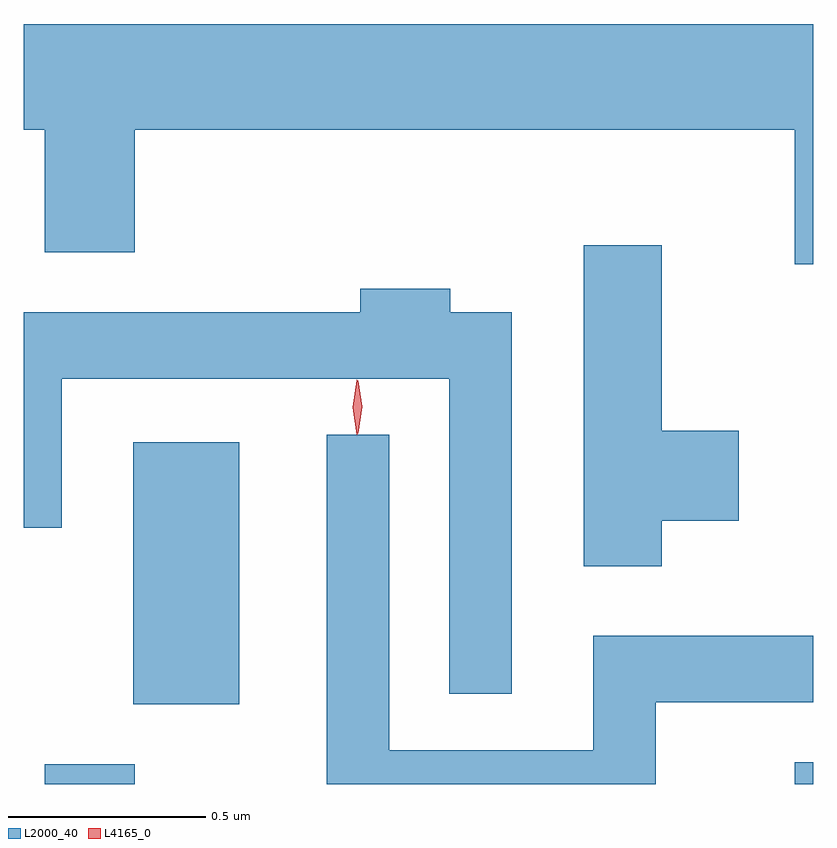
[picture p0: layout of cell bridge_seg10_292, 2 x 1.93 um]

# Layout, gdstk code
import gdstk
lib = gdstk.Library(unit=1e-6, precision=1e-09)
def R(c, l, rs):  # rectangles x0, y0, x1, y1
    for r in rs: c.add(gdstk.rectangle(r[:2], r[2:], *l))
def P(c, l, *ps):  # polygons
    for p in ps: c.add(gdstk.Polygon(p, *l))
L2000_40 = (2000, 40)
L4165_0 = (4165, 0)

bridge_seg10_292 = lib.new_cell('bridge_seg10_292')
R(bridge_seg10_292, L2000_40, [(1819.361,2101.159,1819.589,2101.209), (1821.261,2101.159,1821.308,2101.214), (1819.586,2101.361,1819.854,2102.024)])
P(bridge_seg10_292, L2000_40, [(1821.308,2103.084),(1819.308,2103.084),(1819.308,2102.816),(1819.361,2102.816),(1819.361,2102.506),(1819.589,2102.506),(1819.589,2102.816),(1821.261,2102.816),(1821.261,2102.476),(1821.308,2102.476)],
  [(1820.924,2101.826),(1821.119,2101.826),(1821.119,2102.054),(1820.924,2102.054),(1820.924,2102.524),(1820.726,2102.524),(1820.726,2101.711),(1820.924,2101.711)],
  [(1820.544,2102.354),(1820.389,2102.354),(1820.389,2102.414),(1820.161,2102.414),(1820.161,2102.354),(1819.308,2102.354),(1819.308,2101.808),(1819.404,2101.808),(1819.404,2102.186),(1820.386,2102.186),(1820.386,2101.388),(1820.544,2101.388)],
  [(1820.909,2101.366),(1821.308,2101.366),(1821.308,2101.534),(1820.751,2101.534),(1820.751,2101.244),(1820.234,2101.244),(1820.234,2102.043),(1820.076,2102.043),(1820.076,2101.159),(1820.909,2101.159)])
P(bridge_seg10_292, L4165_0, [(1820.155,2102.047),(1820.154,2102.048),(1820.145,2102.114),(1820.154,2102.18),(1820.155,2102.181),(1820.155,2102.18),(1820.165,2102.114),(1820.155,2102.048)],
  [(1820.152,2102.044),(1820.152,2102.044),(1820.142,2102.113),(1820.152,2102.182),(1820.152,2102.183),(1820.153,2102.182),(1820.162,2102.113),(1820.153,2102.044)])

lib.write_gds('bridge_seg10_292.gds')
